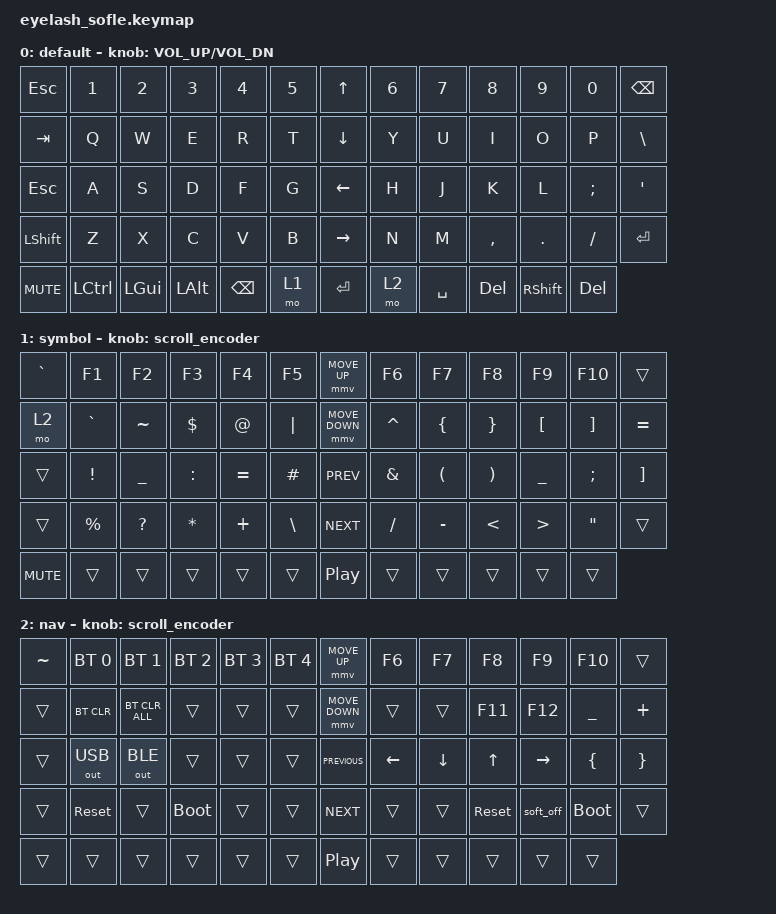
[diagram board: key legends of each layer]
#define ZMK_POINTING_DEFAULT_MOVE_VAL 1200  // 600
#define ZMK_POINTING_DEFAULT_SCRL_VAL 25   // 10

#include <input/processors.dtsi>
#include <zephyr/dt-bindings/input/input-event-codes.h>
#include <behaviors.dtsi>
#include <dt-bindings/zmk/bt.h>
#include <dt-bindings/zmk/keys.h>
#include <dt-bindings/zmk/outputs.h>
#include <dt-bindings/zmk/pointing.h>

&mmv_input_listener { input-processors = <&zip_xy_scaler 2 1>; };

&msc_input_listener { input-processors = <&zip_scroll_scaler 2 1>; };

&msc {
    acceleration-exponent = <1>;      // 0
    time-to-max-speed-ms = <100>;       // 300
    delay-ms = <0>;                   // 0
};

&mmv {
    time-to-max-speed-ms = <500>;
    acceleration-exponent = <1>;
    trigger-period-ms = <16>;
};

&soft_off { hold-time-ms = <2000>; };

/ {
    scroll_encoder: scroll_encoder {
        compatible = "zmk,behavior-sensor-rotate";
        #sensor-binding-cells = <0>;
        bindings = <&msc SCRL_DOWN>, <&msc SCRL_UP>;

        tap-ms = <100>;
    };

    behaviors {
    };

    combos {
        compatible = "zmk,combos";

        softoff {
            bindings = <&soft_off>;
            key-positions = <14 28 40>;
        };
    };

    macros {
        SHIFT_MCLK: SHIFT_MCLK {
            compatible = "zmk,behavior-macro";
            #binding-cells = <0>;
            bindings =
                <&macro_press>,
                <&kp LEFT_SHIFT>,
                <&macro_press>,
                <&mkp MB3>,
                <&macro_pause_for_release>,
                <&macro_release>,
                <&kp LEFT_SHIFT &mkp MB3>;

            label = "SHIFT_MCLK";
        };
    };

    keymap {
        compatible = "zmk,keymap";

        default {
            bindings = <
&kp ESC     &kp N1     &kp N2        &kp N3        &kp N4         &kp N5    &kp UP_ARROW     &kp N6  &kp N7     &kp N8      &kp N9           &kp N0      &kp BACKSPACE
&kp TAB     &kp Q      &kp W         &kp E         &kp R          &kp T     &kp DOWN_ARROW   &kp Y   &kp U      &kp I       &kp O            &kp P       &kp BSLH
&kp ESC     &kp A      &kp S         &kp D         &kp F          &kp G     &kp LEFT_ARROW   &kp H   &kp J      &kp K       &kp L            &kp SEMI    &kp APOS
&kp LSHFT   &kp Z      &kp X         &kp C         &kp V          &kp B     &kp RIGHT_ARROW  &kp N   &kp M      &kp COMMA   &kp DOT          &kp FSLH    &kp ENTER
&kp C_MUTE  &kp LCTRL  &kp LEFT_GUI  &kp LEFT_ALT  &kp BACKSPACE  &mo 1     &kp ENTER        &mo 2   &kp SPACE  &kp DELETE  &kp RIGHT_SHIFT  &kp DELETE
            >;

            sensor-bindings = <&inc_dec_kp C_VOLUME_UP C_VOL_DN>;
            display-name = "default";
        };

        symbol {
            bindings = <
&kp GRAVE   &kp F1       &kp F2        &kp F3      &kp F4     &kp F5           &mmv MOVE_UP      &kp F6         &kp F7                &kp F8                 &kp F9            &kp F10            &trans
&mo 2       &kp GRAVE    &kp TILDE     &kp DOLLAR  &kp AT     &kp PIPE         &mmv MOVE_DOWN    &kp CARET      &kp LEFT_BRACE        &kp RIGHT_BRACE        &kp LEFT_BRACKET  &kp RIGHT_BRACKET  &kp EQUAL
&trans      &kp EXCL     &kp UNDER     &kp COLON   &kp EQUAL  &kp HASH         &kp C_PREV        &kp AMPERSAND  &kp LEFT_PARENTHESIS  &kp RIGHT_PARENTHESIS  &kp UNDER         &kp SEMICOLON      &kp RIGHT_BRACKET
&trans      &kp PERCENT  &kp QUESTION  &kp ASTRK   &kp PLUS   &kp BACKSLASH    &kp C_NEXT        &kp SLASH      &kp MINUS             &kp LESS_THAN          &kp GREATER_THAN  &kp DOUBLE_QUOTES  &trans
&kp C_MUTE  &trans       &trans        &trans      &trans     &trans           &kp C_PLAY_PAUSE  &trans         &trans                &trans                 &trans            &trans
            >;

            display-name = "symbol";
            sensor-bindings = <&scroll_encoder>;
        };

        navigation {
            bindings = <
&kp TILDE  &bt BT_SEL 0  &bt BT_SEL 1    &bt BT_SEL 2  &bt BT_SEL 3  &bt BT_SEL 4    &mmv MOVE_UP      &kp F6          &kp F7          &kp F8        &kp F9           &kp F10      &trans
&trans     &bt BT_CLR    &bt BT_CLR_ALL  &trans        &trans        &trans          &mmv MOVE_DOWN    &trans          &trans          &kp F11       &kp F12          &kp UNDER    &kp PLUS
&trans     &out OUT_USB  &out OUT_BLE    &trans        &trans        &trans          &kp C_PREVIOUS    &kp LEFT_ARROW  &kp DOWN_ARROW  &kp UP_ARROW  &kp RIGHT_ARROW  &kp LBRC     &kp RBRC
&trans     &sys_reset    &trans          &bootloader   &trans        &trans          &kp C_NEXT        &trans          &trans          &sys_reset    &soft_off        &bootloader  &trans
&trans     &trans        &trans          &trans        &trans        &trans          &kp C_PLAY_PAUSE  &trans          &trans          &trans        &trans           &trans
            >;

            display-name = "nav";
            sensor-bindings = <&scroll_encoder>;
        };
    };
};
